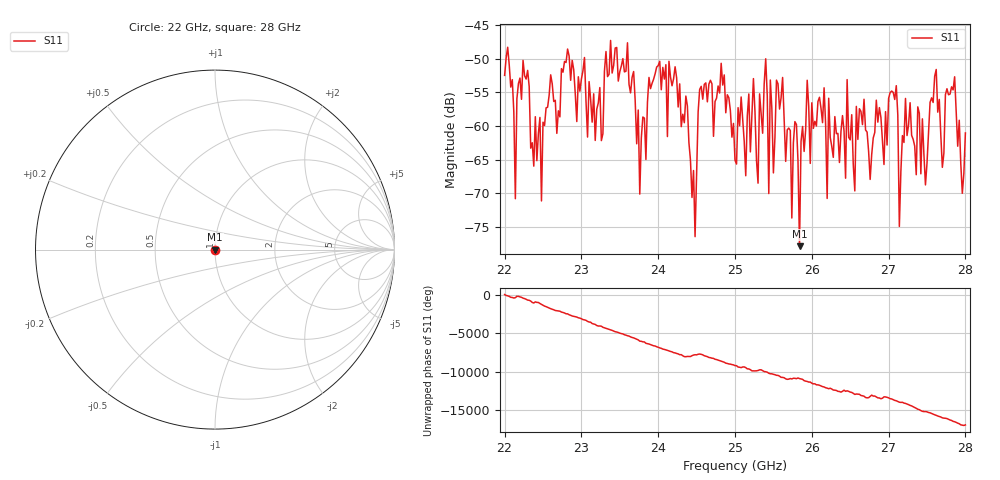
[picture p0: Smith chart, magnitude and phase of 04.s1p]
#  HZ  S  RI  R  50.00
! Rohde & Schwarz ZVA40 4Ports - Version 3.90 - 1145.1110k42 SN: 100403
! Date: 2023-10-04 11:47:36
! Measurement: S12
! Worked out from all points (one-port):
!   301 points, 22 GHz to 28 GHz, reference 50 ohm
!   lowest |S11| = -77.9 dB at 25.84 GHz (marker M1), VSWR 1.00, Z = 50 - j0.0117 ohm
!   |S11| at or under -10 dB: start of sweep to end of sweep
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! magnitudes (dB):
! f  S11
! 22 GHz  -52.5
! 22.14 GHz  -70.8
! 22.24 GHz  -50.3
! 22.48 GHz  -71.1
! 22.76 GHz  -52.0
! 23.5 GHz  -52.0
! 23.76 GHz  -70.1
! 23.88 GHz  -52.8
! 24.26 GHz  -57.2
! 24.48 GHz  -76.4
! 24.56 GHz  -54.1
! 25 GHz  -65.1
! 25.24 GHz  -53.0
! 25.3 GHz  -68.5
! 25.4 GHz  -50.0
! 25.44 GHz  -70.0
! 25.46 GHz  -53.2
! 25.76 GHz  -62.5
! 25.84 GHz  -77.9
! 25.94 GHz  -53.2
! 26.16 GHz  -54.3
! 26.2 GHz  -70.8
! 26.22 GHz  -55.9
! 26.5 GHz  -62.1
! 27.1 GHz  -54.0
! 27.14 GHz  -74.9
! 27.26 GHz  -59.9
! 28 GHz  -61.0
